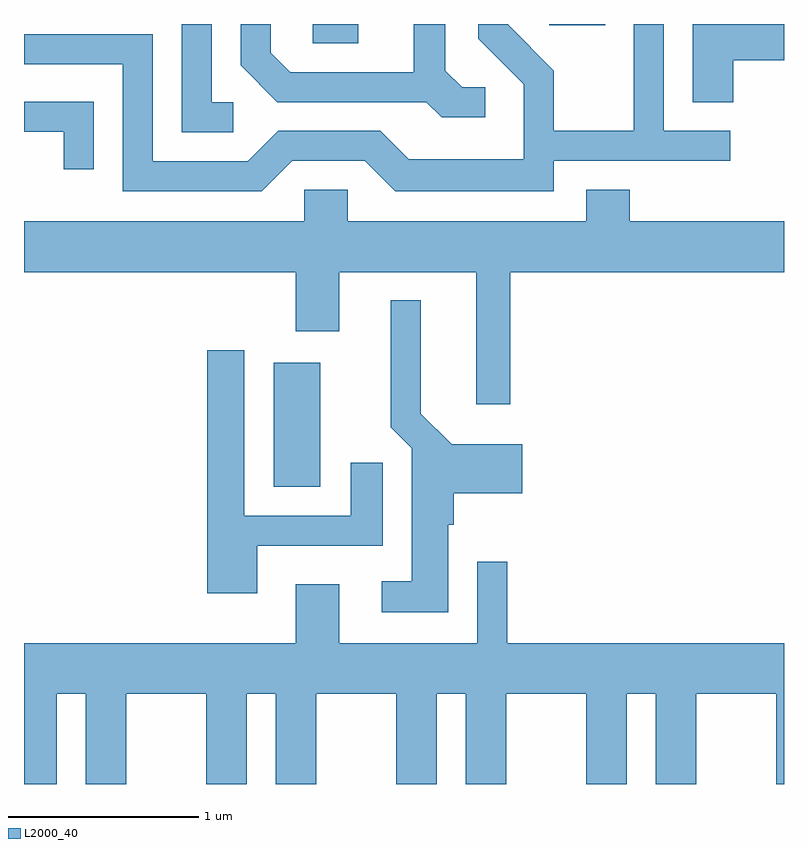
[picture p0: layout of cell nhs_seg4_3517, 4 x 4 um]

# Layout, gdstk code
import gdstk
lib = gdstk.Library(unit=1e-6, precision=1e-09)
def R(c, l, rs):  # rectangles x0, y0, x1, y1
    for r in rs: c.add(gdstk.rectangle(r[:2], r[2:], *l))
def P(c, l, *ps):  # polygons
    for p in ps: c.add(gdstk.Polygon(p, *l))
L2000_40 = (2000, 40)

nhs_seg4_3517 = lib.new_cell('nhs_seg4_3517')
R(nhs_seg4_3517, L2000_40, [(288.926,1353.546,289.169,1354.199), (289.131,1355.881,289.369,1355.982), (290.376,1355.976,290.669,1355.982)])
P(nhs_seg4_3517, L2000_40, [(290.038,1355.649),(289.917,1355.649),(289.829,1355.737),(289.829,1355.982),(289.661,1355.982),(289.661,1355.729),(289.012,1355.729),(288.909,1355.832),(288.909,1355.982),(288.751,1355.982),(288.751,1355.764),(288.944,1355.571),(289.729,1355.571),(289.809,1355.491),(290.038,1355.491)],
  [(289.022,1355.261),(289.404,1355.261),(289.564,1355.101),(290.399,1355.101),(290.399,1355.261),(291.328,1355.261),(291.328,1355.419),(290.979,1355.419),(290.979,1355.982),(290.821,1355.982),(290.821,1355.419),(290.399,1355.419),(290.399,1355.737),(290.159,1355.977),(290.159,1355.982),(290.001,1355.982),(290.001,1355.904),(290.241,1355.664),(290.241,1355.269),(289.637,1355.269),(289.487,1355.419),(288.949,1355.419),(288.789,1355.259),(288.289,1355.259),(288.289,1355.929),(287.611,1355.929),(287.611,1355.771),(288.131,1355.771),(288.131,1355.101),(288.862,1355.101)],
  [(288.713,1355.569),(288.599,1355.569),(288.599,1355.982),(288.441,1355.982),(288.441,1355.411),(288.713,1355.411)],
  [(291.344,1355.791),(291.611,1355.791),(291.611,1355.982),(291.131,1355.982),(291.131,1355.571),(291.344,1355.571)],
  [(287.979,1355.574),(287.611,1355.574),(287.611,1355.416),(287.821,1355.416),(287.821,1355.218),(287.979,1355.218)],
  [(290.169,1354.676),(291.611,1354.676),(291.611,1354.944),(290.799,1354.944),(290.799,1355.109),(290.571,1355.109),(290.571,1354.944),(289.314,1354.944),(289.314,1355.109),(289.086,1355.109),(289.086,1354.944),(287.611,1354.944),(287.611,1354.676),(289.041,1354.676),(289.041,1354.366),(289.269,1354.366),(289.269,1354.676),(289.991,1354.676),(289.991,1353.981),(290.169,1353.981)],
  [(289.844,1353.346),(289.874,1353.346),(289.874,1353.511),(290.234,1353.511),(290.234,1353.769),(289.862,1353.769),(289.699,1353.932),(289.699,1354.528),(289.541,1354.528),(289.541,1353.859),(289.651,1353.749),(289.651,1353.049),(289.493,1353.049),(289.493,1352.886),(289.844,1352.886)],
  [(288.839,1353.236),(289.499,1353.236),(289.499,1353.673),(289.331,1353.673),(289.331,1353.394),(288.769,1353.394),(288.769,1354.264),(288.576,1354.264),(288.576,1352.986),(288.839,1352.986)],
  [(287.611,1351.982),(287.784,1351.982),(287.784,1352.456),(287.936,1352.456),(287.936,1351.982),(288.149,1351.982),(288.149,1352.456),(288.571,1352.456),(288.571,1351.982),(288.784,1351.982),(288.784,1352.456),(288.936,1352.456),(288.936,1351.982),(289.149,1351.982),(289.149,1352.456),(289.571,1352.456),(289.571,1351.982),(289.784,1351.982),(289.784,1352.456),(289.936,1352.456),(289.936,1351.982),(290.149,1351.982),(290.149,1352.456),(290.571,1352.456),(290.571,1351.982),(290.784,1351.982),(290.784,1352.456),(290.936,1352.456),(290.936,1351.982),(291.149,1351.982),(291.149,1352.456),(291.571,1352.456),(291.571,1351.982),(291.611,1351.982),(291.611,1352.724),(290.154,1352.724),(290.154,1353.153),(289.996,1353.153),(289.996,1352.724),(289.269,1352.724),(289.269,1353.034),(289.041,1353.034),(289.041,1352.724),(287.611,1352.724)])

lib.write_gds('nhs_seg4_3517.gds')
